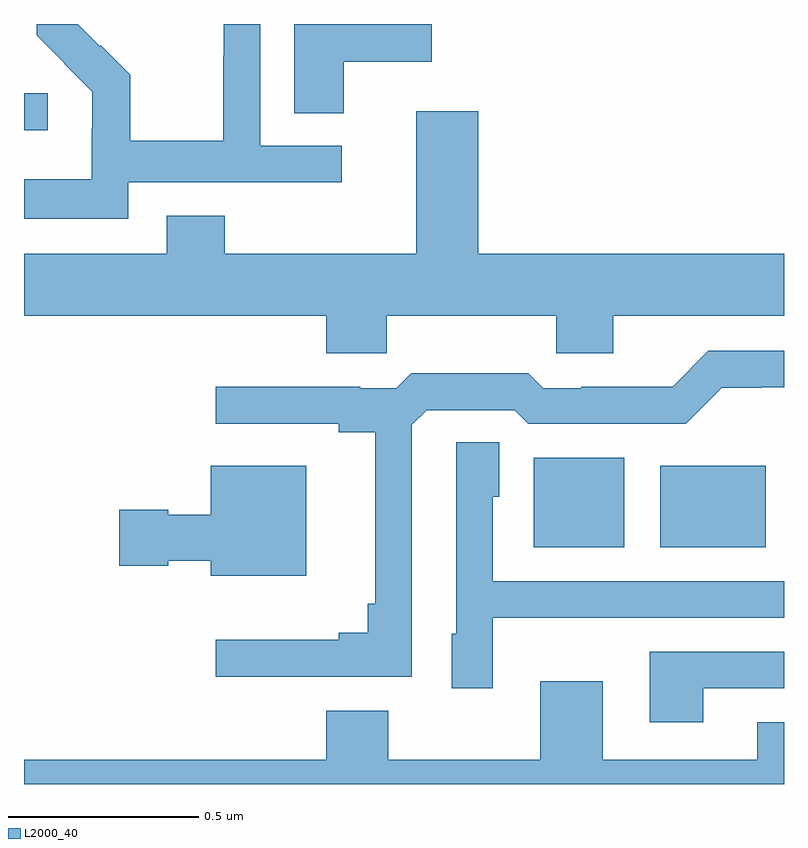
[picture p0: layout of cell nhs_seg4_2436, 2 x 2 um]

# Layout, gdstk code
import gdstk
lib = gdstk.Library(unit=1e-6, precision=1e-09)
def R(c, l, rs):  # rectangles x0, y0, x1, y1
    for r in rs: c.add(gdstk.rectangle(r[:2], r[2:], *l))
def P(c, l, *ps):  # polygons
    for p in ps: c.add(gdstk.Polygon(p, *l))
L2000_40 = (2000, 40)

nhs_seg4_2436 = lib.new_cell('nhs_seg4_2436')
R(nhs_seg4_2436, L2000_40, [(141.341,817.523,141.58,817.759), (141.674,817.523,141.952,817.738), (140,818.621,140.062,818.718)])
P(nhs_seg4_2436, L2000_40, [(140.274,818.484),(140.836,818.484),(140.836,818.58),(140.622,818.58),(140.622,818.9),(140.526,818.9),(140.526,818.816),(140.524,818.816),(140.524,818.593),(140.279,818.593),(140.279,818.767),(140.202,818.844),(140.199,818.841),(140.141,818.9),(140.034,818.9),(140.034,818.87),(140.107,818.797),(140.106,818.796),(140.18,818.722),(140.18,818.625),(140.178,818.625),(140.178,818.491),(140,818.491),(140,818.387),(140.274,818.387)],
  [(140.842,818.801),(141.073,818.801),(141.073,818.9),(140.711,818.9),(140.711,818.665),(140.842,818.665)],
  [(140.955,818.132),(141.4,818.132),(141.4,818.034),(141.55,818.034),(141.55,818.132),(142,818.132),(142,818.296),(141.196,818.296),(141.196,818.671),(141.032,818.671),(141.032,818.296),(140.528,818.296),(140.528,818.395),(140.375,818.395),(140.375,818.296),(140,818.296),(140,818.132),(140.795,818.132),(140.795,818.034),(140.955,818.034)],
  [(141.021,817.845),(141.06,817.884),(141.291,817.884),(141.327,817.848),(141.741,817.848),(141.836,817.943),(141.94,817.943),(141.94,817.944),(142,817.944),(142,818.04),(141.801,818.04),(141.707,817.946),(141.466,817.946),(141.466,817.941),(141.366,817.941),(141.327,817.981),(141.019,817.981),(140.979,817.941),(140.885,817.941),(140.885,817.946),(140.505,817.946),(140.505,817.848),(140.828,817.848),(140.828,817.826),(140.924,817.826),(140.924,817.375),(140.905,817.375),(140.905,817.298),(140.828,817.298),(140.828,817.279),(140.505,817.279),(140.505,817.182),(141.021,817.182)],
  [(141.234,817.337),(141.551,817.337),(141.551,817.338),(142,817.338),(142,817.434),(141.234,817.434),(141.234,817.656),(141.25,817.656),(141.25,817.799),(141.138,817.799),(141.138,817.296),(141.125,817.296),(141.125,817.152),(141.234,817.152)],
  [(140.743,817.738),(140.492,817.738),(140.492,817.609),(140.379,817.609),(140.379,817.622),(140.25,817.622),(140.25,817.475),(140.379,817.475),(140.379,817.487),(140.492,817.487),(140.492,817.448),(140.743,817.448)],
  [(141.787,817.152),(142,817.152),(142,817.248),(141.647,817.248),(141.647,817.062),(141.787,817.062)],
  [(142,817.063),(141.929,817.063),(141.929,816.964),(141.523,816.964),(141.523,817.171),(141.359,817.171),(141.359,816.964),(140.959,816.964),(140.959,817.093),(140.795,817.093),(140.795,816.964),(140,816.964),(140,816.9),(142,816.9)])

lib.write_gds('nhs_seg4_2436.gds')
